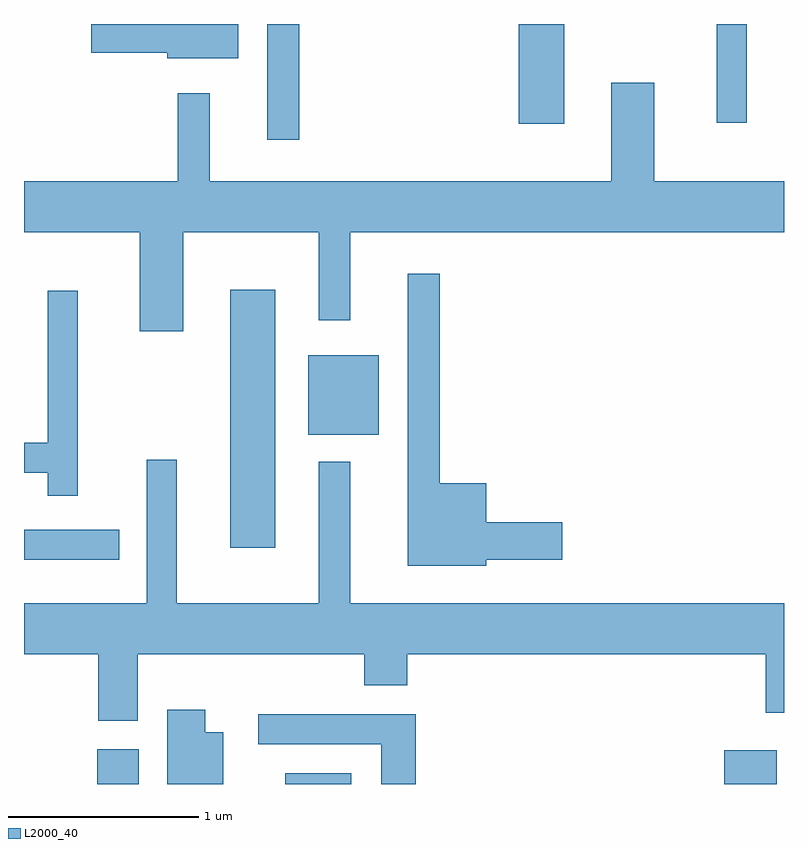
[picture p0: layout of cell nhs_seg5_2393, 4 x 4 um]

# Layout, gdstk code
import gdstk
lib = gdstk.Library(unit=1e-6, precision=1e-09)
def R(c, l, rs):  # rectangles x0, y0, x1, y1
    for r in rs: c.add(gdstk.rectangle(r[:2], r[2:], *l))
def P(c, l, *ps):  # polygons
    for p in ps: c.add(gdstk.Polygon(p, *l))
L2000_40 = (2000, 40)

nhs_seg5_2393 = lib.new_cell('nhs_seg5_2393')
R(nhs_seg5_2393, L2000_40, [(255.996,1496.072,256.214,1496.254), (256.986,1496.072,257.334,1496.129), (259.296,1496.072,259.574,1496.249), (255.611,1497.251,256.113,1497.409), (256.696,1497.316,256.934,1498.674), (257.106,1497.911,257.479,1498.329), (256.891,1499.463,257.059,1500.072), (258.216,1499.546,258.454,1500.072), (259.256,1499.553,259.414,1500.072)])
P(nhs_seg5_2393, L2000_40, [(256.739,1500.072),(255.966,1500.072),(255.966,1499.921),(256.366,1499.921),(256.366,1499.891),(256.739,1499.891)],
  [(256.449,1498.976),(257.161,1498.976),(257.161,1498.513),(257.329,1498.513),(257.329,1498.976),(259.611,1498.976),(259.611,1499.244),(258.929,1499.244),(258.929,1499.764),(258.701,1499.764),(258.701,1499.244),(256.589,1499.244),(256.589,1499.708),(256.421,1499.708),(256.421,1499.244),(255.611,1499.244),(255.611,1498.976),(256.221,1498.976),(256.221,1498.456),(256.449,1498.456)],
  [(258.044,1497.251),(258.444,1497.251),(258.444,1497.449),(258.044,1497.449),(258.044,1497.654),(257.799,1497.654),(257.799,1498.758),(257.631,1498.758),(257.631,1497.221),(258.044,1497.221)],
  [(255.894,1498.668),(255.736,1498.668),(255.736,1497.869),(255.611,1497.869),(255.611,1497.711),(255.736,1497.711),(255.736,1497.588),(255.894,1497.588)],
  [(256.209,1496.756),(257.401,1496.756),(257.401,1496.591),(257.629,1496.591),(257.629,1496.756),(259.516,1496.756),(259.516,1496.446),(259.611,1496.446),(259.611,1497.024),(257.329,1497.024),(257.329,1497.768),(257.161,1497.768),(257.161,1497.024),(256.414,1497.024),(256.414,1497.778),(256.256,1497.778),(256.256,1497.024),(255.611,1497.024),(255.611,1496.756),(256.001,1496.756),(256.001,1496.406),(256.209,1496.406)],
  [(256.659,1496.344),(256.564,1496.344),(256.564,1496.464),(256.366,1496.464),(256.366,1496.072),(256.659,1496.072)],
  [(257.674,1496.439),(256.843,1496.439),(256.843,1496.281),(257.491,1496.281),(257.491,1496.072),(257.674,1496.072)])

lib.write_gds('nhs_seg5_2393.gds')
